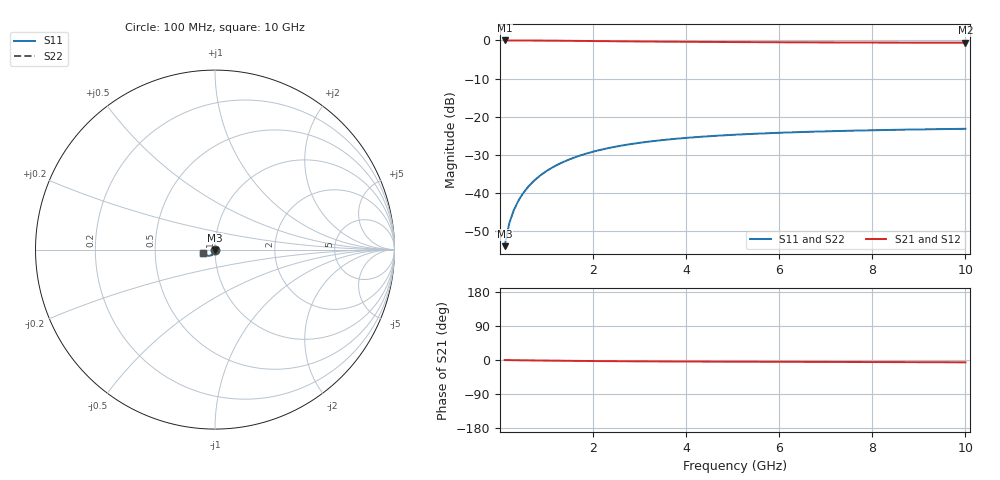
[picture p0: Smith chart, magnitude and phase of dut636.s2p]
! Touchstone file exported from HFSS 2024.1.0
!  File:  C:/UserFiles/LocalFiles/RDL_TSV_Batchsim/temp_TSV1_636_1779790554.aedt
!  Generated:  06:23:54 PM May 26, 2026
!  Design:  TSV1
!  Project:  temp_TSV1_636_1779790554
!  Setup:  Setup1
!  Solution:  Sweep
! Variables:
!  dtsv = 13.47um
!  hbump = 3um
!  htsv = 94.98um
!  lrdl = 252.1521522um
!  p = 40
!  p1 = 49.58um
!  t = 500um
!  trdl = 3um
!  wrdl = 24.89489489um
# GHz S MA R 50.000000
! Terminal data exported
! Port[1] = TSV22_T1
! Port[2] = TSV22_T2
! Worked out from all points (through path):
!   100 points, 100 MHz to 10 GHz, reference 50 ohm
!   highest |S21| = 0.00 dB at 100 MHz (marker M1); lowest = -0.6 dB at 10 GHz (marker M2)
!   lowest |S11| = -54.0 dB at 100 MHz (marker M3), VSWR 1.00, Z = 50 - j0.201 ohm
!   |S11| at or under -10 dB: start of sweep to end of sweep
!   |S22| runs from -54.0 to -23.2 dB; largest |S21 - S12| = 6.1e-15
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0.1  0.002006 -88.9  0.9998 -0.2  0.9998 -0.2  0.002006 -88.9
! Gamma 0 0 0 0
! Port Impedance 50 0 50 0
0.2  0.00401 -91.9  0.9996 -0.3  0.9996 -0.3  0.00401 -91.9
0.3  0.006012 -94.0  0.9993 -0.5  0.9993 -0.5  0.006012 -94.0
0.4  0.008003 -95.9  0.9989 -0.7  0.9989 -0.7  0.008003 -95.9
0.5  0.009976 -97.7  0.9984 -0.8  0.9984 -0.8  0.009976 -97.7
0.6  0.01192 -99.5  0.9977 -1.0  0.9977 -1.0  0.01192 -99.5
0.7  0.01384 -101.2  0.997 -1.1  0.997 -1.1  0.01384 -101.2
0.8  0.01573 -102.9  0.9962 -1.3  0.9962 -1.3  0.01573 -102.9
0.9  0.01757 -104.6  0.9953 -1.4  0.9953 -1.4  0.01757 -104.6
1.1  0.02113 -107.8  0.9933 -1.7  0.9933 -1.7  0.02113 -107.8
1.4  0.02612 -112.4  0.9899 -2.1  0.9899 -2.1  0.02612 -112.4
1.6  0.0292 -115.2  0.9875 -2.3  0.9875 -2.3  0.0292 -115.2
1.8  0.03208 -118.0  0.985 -2.5  0.985 -2.5  0.03208 -118.0
2.1  0.03602 -121.8  0.9812 -2.8  0.9812 -2.8  0.03602 -121.8
2.5  0.04062 -126.4  0.9762 -3.1  0.9762 -3.1  0.04062 -126.4
2.9  0.04457 -130.5  0.9715 -3.4  0.9715 -3.4  0.04457 -130.5
3.4  0.04871 -135.0  0.9661 -3.7  0.9661 -3.7  0.04871 -135.0
4.2  0.05391 -141.0  0.9587 -4.1  0.9587 -4.1  0.05391 -141.0
5.1  0.05826 -146.5  0.9521 -4.4  0.9521 -4.4  0.05826 -146.5
6.7  0.06355 -153.9  0.9435 -5.0  0.9435 -5.0  0.06355 -153.9
8.4  0.06714 -159.8  0.9373 -5.5  0.9373 -5.5  0.06714 -159.8
10  0.06943 -164.3  0.9333 -6.1  0.9333 -6.1  0.06943 -164.3
